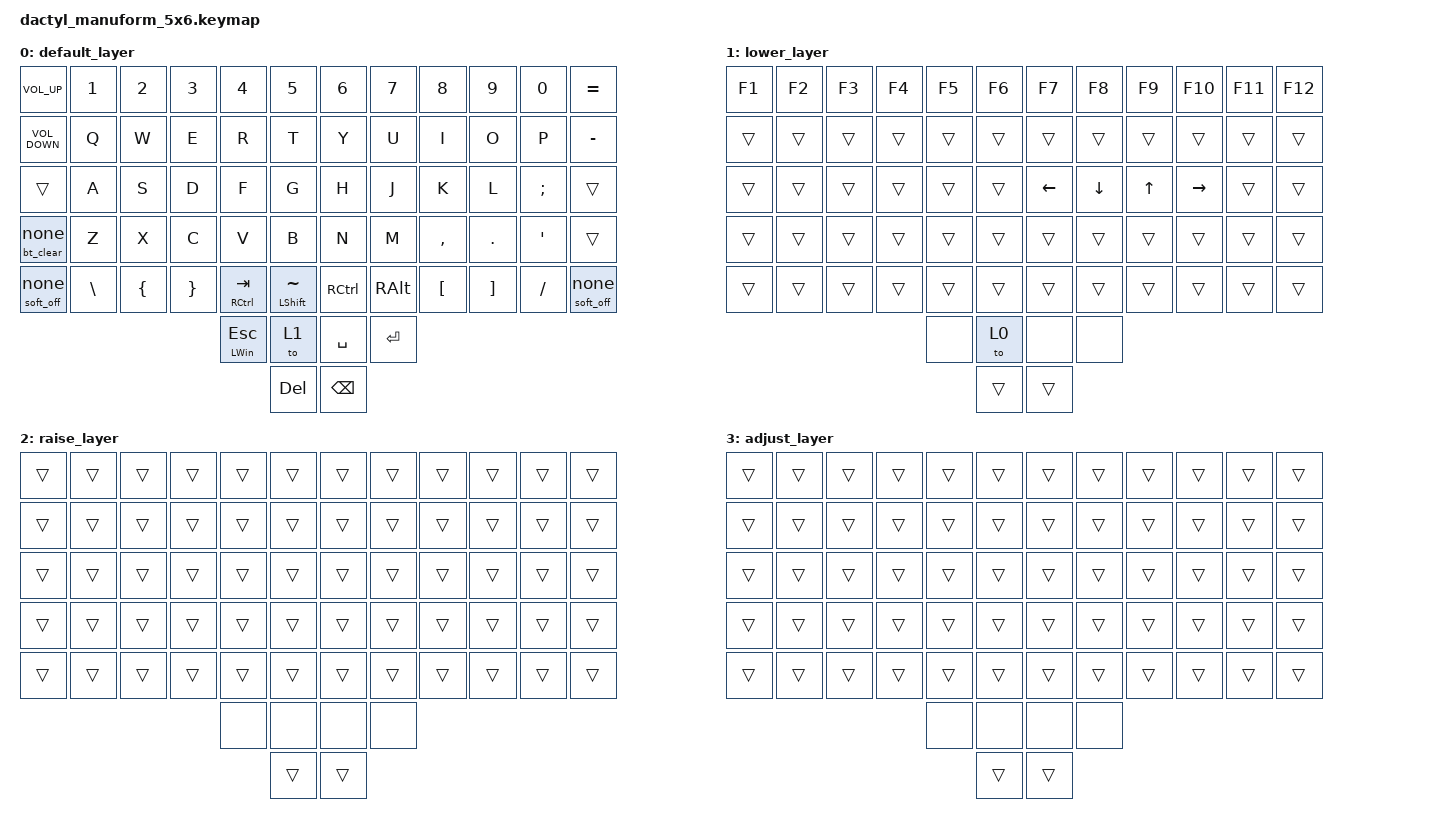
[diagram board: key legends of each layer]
#include <behaviors.dtsi>
#include <dt-bindings/zmk/bt.h>
#include <dt-bindings/zmk/keys.h>

#define DEFAULT 0
#define LWR 1
#define RSE 2
#define ADJ 3

/ {
    behaviors {
        soft_off_safe: soft_off_safe {
            compatible = "zmk,behavior-hold-tap";
            label = "SOFT_OFF_SAFE";
            bindings = <&soft_off>, <&none>;

            #binding-cells = <2>;
            tapping-term-ms = <3000>;
        };

        bt_safe: bt_safe {
            compatible = "zmk,behavior-hold-tap";
            label = "BT_SAFE";
            bindings = <&bt_clear>, <&none>;

            #binding-cells = <2>;
            tapping-term-ms = <3000>;
        };
    };

    macros {
        bt_clear: bt_clear {
            compatible = "zmk,behavior-macro";
            #binding-cells = <0>;
            bindings = <&bt BT_CLR>;
            label = "BT_CLEAR";
        };
    };

    keymap {
        compatible = "zmk,keymap";

        default_layer {
            bindings = <
&kp K_VOLUME_UP     &kp N1         &kp N2          &kp N3           &kp N4            &kp N5                  &kp N6             &kp N7         &kp N8            &kp N9             &kp N0     &kp EQUAL
&kp K_VOLUME_DOWN   &kp Q          &kp W           &kp E            &kp R             &kp T                   &kp Y              &kp U          &kp I             &kp O              &kp P      &kp MINUS
&trans              &kp A          &kp S           &kp D            &kp F             &kp G                   &kp H              &kp J          &kp K             &kp L              &kp SEMI   &trans
&bt_safe 0 0        &kp Z          &kp X           &kp C            &kp V             &kp B                   &kp N              &kp M          &kp COMMA         &kp DOT            &kp SQT    &trans
&soft_off_safe 0 0  &kp BACKSLASH  &kp LEFT_BRACE  &kp RIGHT_BRACE  &mt RCTRL TAB     &mt LEFT_SHIFT TILDE    &kp RIGHT_CONTROL  &kp RIGHT_ALT  &kp LEFT_BRACKET  &kp RIGHT_BRACKET  &kp SLASH  &soft_off_safe 0 0
                                                                    &mt LEFT_WIN ESC  &to 1                   &kp SPACE          &kp ENTER
                                                                                      &kp DEL                 &kp BACKSPACE
            >;
        };

        lower_layer {
            bindings = <
&kp F1  &kp F2  &kp F3  &kp F4  &kp F5  &kp F6    &kp F7          &kp F8    &kp F9        &kp F10    &kp F11  &kp F12
&trans  &trans  &trans  &trans  &trans  &trans    &trans          &trans    &trans        &trans     &trans   &trans
&trans  &trans  &trans  &trans  &trans  &trans    &kp LEFT_ARROW  &kp DOWN  &kp UP_ARROW  &kp RIGHT  &trans   &trans
&trans  &trans  &trans  &trans  &trans  &trans    &trans          &trans    &trans        &trans     &trans   &trans
&trans  &trans  &trans  &trans  &trans  &trans    &trans          &trans    &trans        &trans     &trans   &trans
                                &none   &to 0     &none           &none
                                        &trans    &trans
            >;
        };

        raise_layer {
            bindings = <
&trans  &trans  &trans  &trans  &trans  &trans    &trans  &trans  &trans  &trans  &trans  &trans
&trans  &trans  &trans  &trans  &trans  &trans    &trans  &trans  &trans  &trans  &trans  &trans
&trans  &trans  &trans  &trans  &trans  &trans    &trans  &trans  &trans  &trans  &trans  &trans
&trans  &trans  &trans  &trans  &trans  &trans    &trans  &trans  &trans  &trans  &trans  &trans
&trans  &trans  &trans  &trans  &trans  &trans    &trans  &trans  &trans  &trans  &trans  &trans
                                &none   &none     &none   &none
                                        &trans    &trans
            >;
        };

        adjust_layer {
            bindings = <
&trans  &trans  &trans  &trans  &trans  &trans    &trans  &trans  &trans  &trans  &trans  &trans
&trans  &trans  &trans  &trans  &trans  &trans    &trans  &trans  &trans  &trans  &trans  &trans
&trans  &trans  &trans  &trans  &trans  &trans    &trans  &trans  &trans  &trans  &trans  &trans
&trans  &trans  &trans  &trans  &trans  &trans    &trans  &trans  &trans  &trans  &trans  &trans
&trans  &trans  &trans  &trans  &trans  &trans    &trans  &trans  &trans  &trans  &trans  &trans
                                &none   &none     &none   &none
                                        &trans    &trans
            >;
        };
    };
};
